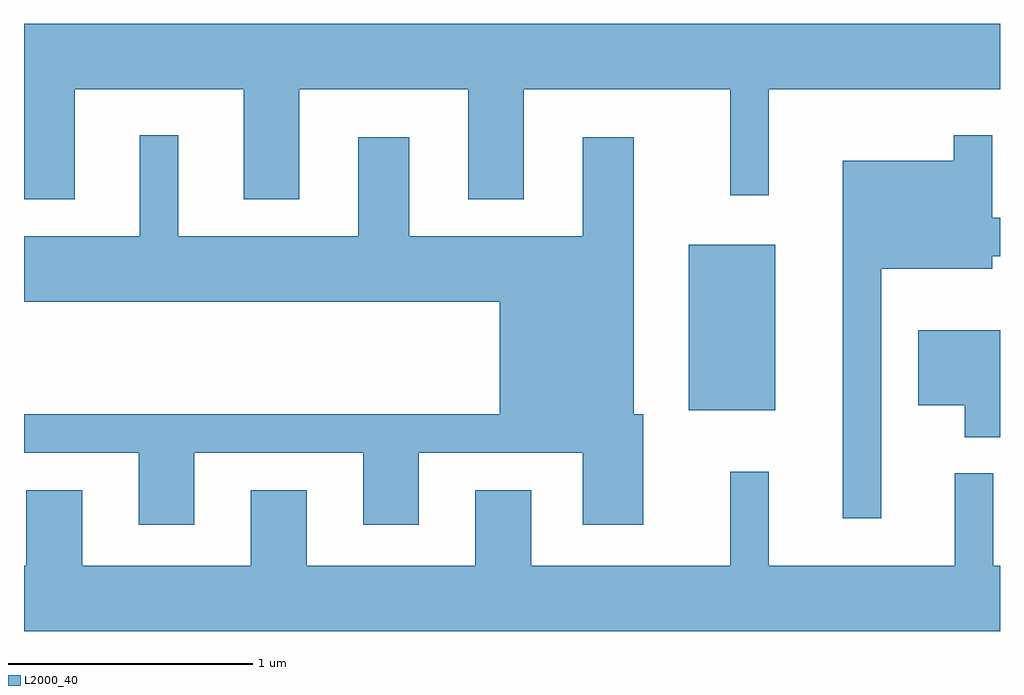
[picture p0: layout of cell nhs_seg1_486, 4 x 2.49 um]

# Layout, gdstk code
import gdstk
lib = gdstk.Library(unit=1e-6, precision=1e-09)
def R(c, l, rs):  # rectangles x0, y0, x1, y1
    for r in rs: c.add(gdstk.rectangle(r[:2], r[2:], *l))
def P(c, l, *ps):  # polygons
    for p in ps: c.add(gdstk.Polygon(p, *l))
L2000_40 = (2000, 40)

nhs_seg1_486 = lib.new_cell('nhs_seg1_486')
R(nhs_seg1_486, L2000_40, [(202.336,904.921,202.689,905.599)])
P(nhs_seg1_486, L2000_40, [(199.819,906.236),(200.511,906.236),(200.511,905.786),(200.739,905.786),(200.739,906.236),(201.431,906.236),(201.431,905.786),(201.659,905.786),(201.659,906.236),(202.506,906.236),(202.506,905.803),(202.664,905.803),(202.664,906.236),(203.611,906.236),(203.611,906.504),(199.611,906.504),(199.611,905.786),(199.819,905.786)],
  [(203.124,905.501),(203.579,905.501),(203.579,905.551),(203.611,905.551),(203.611,905.709),(203.579,905.709),(203.579,906.048),(203.421,906.048),(203.421,905.944),(202.966,905.944),(202.966,904.478),(203.124,904.478)],
  [(200.309,904.746),(201.001,904.746),(201.001,904.451),(201.229,904.451),(201.229,904.746),(201.901,904.746),(201.901,904.451),(202.149,904.451),(202.149,904.904),(202.109,904.904),(202.109,906.039),(201.901,906.039),(201.901,905.634),(201.189,905.634),(201.189,906.039),(200.981,906.039),(200.981,905.634),(200.244,905.634),(200.244,906.048),(200.086,906.048),(200.086,905.634),(199.611,905.634),(199.611,905.366),(201.561,905.366),(201.561,904.904),(199.611,904.904),(199.611,904.746),(200.081,904.746),(200.081,904.451),(200.309,904.451)],
  [(203.611,905.249),(203.276,905.249),(203.276,904.941),(203.466,904.941),(203.466,904.811),(203.611,904.811)],
  [(203.611,904.284),(203.584,904.284),(203.584,904.663),(203.426,904.663),(203.426,904.284),(202.664,904.284),(202.664,904.668),(202.506,904.668),(202.506,904.284),(201.689,904.284),(201.689,904.594),(201.461,904.594),(201.461,904.284),(200.769,904.284),(200.769,904.594),(200.541,904.594),(200.541,904.284),(199.849,904.284),(199.849,904.594),(199.621,904.594),(199.621,904.284),(199.611,904.284),(199.611,904.016),(203.611,904.016)])

lib.write_gds('nhs_seg1_486.gds')
